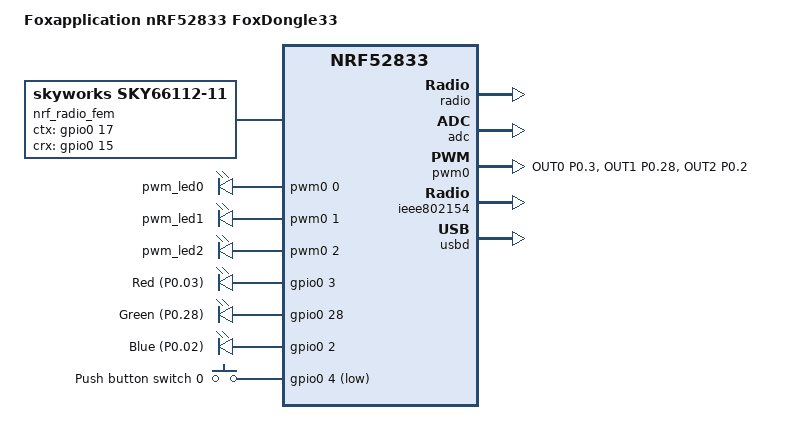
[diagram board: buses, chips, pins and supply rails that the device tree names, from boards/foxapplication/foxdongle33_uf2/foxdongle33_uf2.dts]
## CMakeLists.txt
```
#
# Copyright (c) 2018 Nordic Semiconductor
#
# SPDX-License-Identifier: LicenseRef-Nordic-5-Clause
#
cmake_minimum_required(VERSION 3.20.0)

# Configure build metadata from git (best-effort)
find_package(Git)

if(GIT_EXECUTABLE)
  execute_process(
    COMMAND ${GIT_EXECUTABLE} branch --show-current
    WORKING_DIRECTORY ${CMAKE_SOURCE_DIR}
    OUTPUT_VARIABLE GIT_BRANCH
    )
  # Prefer a https URL for display (falls back to 'unknown')
  execute_process(
    COMMAND ${GIT_EXECUTABLE} config --get remote.origin.url
    WORKING_DIRECTORY ${CMAKE_SOURCE_DIR}
    OUTPUT_VARIABLE GIT_REPO_URL_SSH
    )
  execute_process(
    COMMAND ${GIT_EXECUTABLE} config --get remote.origin.https.url
    WORKING_DIRECTORY ${CMAKE_SOURCE_DIR}
    OUTPUT_VARIABLE GIT_REPO_URL_HTTPS
    )
  execute_process(
    COMMAND ${GIT_EXECUTABLE} log -1 --pretty=%an
    WORKING_DIRECTORY ${CMAKE_SOURCE_DIR}
    OUTPUT_VARIABLE GIT_AUTHOR
    )
endif()

if(GIT_BRANCH STREQUAL "")
  set(GIT_BRANCH unknown)
  message(WARNING "Unknown Git Branch")
endif()
# Choose URL: origin.https.url > origin.url
if(NOT GIT_REPO_URL_HTTPS STREQUAL "")
  set(GIT_REPO_URL ${GIT_REPO_URL_HTTPS})
else()
  set(GIT_REPO_URL ${GIT_REPO_URL_SSH})
endif()

# Normalize GitHub SSH URLs to HTTPS for display in firmware info
if(GIT_REPO_URL MATCHES "^git@github\\.com:(.+)$")
  set(GIT_REPO_URL "https://github.com/${CMAKE_MATCH_1}")
elseif(GIT_REPO_URL MATCHES "^ssh://git@github\\.com/(.+)$")
  set(GIT_REPO_URL "https://github.com/${CMAKE_MATCH_1}")
endif()
string(REGEX REPLACE "\\.git$" "" GIT_REPO_URL "${GIT_REPO_URL}")

if(GIT_REPO_URL STREQUAL "")
  set(GIT_REPO_URL unknown)
  message(WARNING "Unknown Git Repo URL")
endif()
if(GIT_AUTHOR STREQUAL "")
  set(GIT_AUTHOR unknown)
  message(WARNING "Unknown Git Author")
endif()

string(STRIP ${GIT_BRANCH} GIT_BRANCH)
string(STRIP ${GIT_REPO_URL} GIT_REPO_URL)
string(STRIP ${GIT_AUTHOR} GIT_AUTHOR)

# Pass metadata to C compilation units
add_compile_definitions(
  FW_GIT_BRANCH="${GIT_BRANCH}"
  FW_GIT_REPO_URL="${GIT_REPO_URL}"
  FW_GIT_AUTHOR="${GIT_AUTHOR}"
)

set(SLIMEVR_ECAN_CDC_OVERLAY ${CMAKE_CURRENT_SOURCE_DIR}/boards/ecan_cdc.overlay)

if(DEFINED EXTRA_DTC_OVERLAY_FILE)
  set(EXTRA_DTC_OVERLAY_FILE ${SLIMEVR_ECAN_CDC_OVERLAY} ${EXTRA_DTC_OVERLAY_FILE})
else()
  set(EXTRA_DTC_OVERLAY_FILE ${SLIMEVR_ECAN_CDC_OVERLAY})
endif()

find_package(Zephyr REQUIRED HINTS $ENV{ZEPHYR_BASE})
project(NONE)

FILE(GLOB_RECURSE app_sources src/*.c)
# NORDIC SDK APP START
target_sources(app PRIVATE ${app_sources})
# NORDIC SDK APP END

target_include_directories(app PRIVATE src)

# Force recompile for updated build timestamp
add_custom_target(touch_util_h ALL
    COMMAND ${CMAKE_COMMAND} -E touch ${CMAKE_SOURCE_DIR}/src/build_defines.h
)
```

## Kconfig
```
#
# Copyright (c) 2020 Nordic Semiconductor
#
# SPDX-License-Identifier: LicenseRef-Nordic-5-Clause
#

choice
	prompt "Status LED color mapping"
    default LED_TRI_COLOR

config LED_RGB_COLOR
    bool "Use RGB color mapping"
    help
        Use RGB or RG color mapping for LED status if available.

config LED_TRI_COLOR
    bool "Use default color mapping"
    help
        Use the default color mapping for LED status.

endchoice

menu "Status LED default status color"
    depends on LED_RGB_COLOR

config LED_DEFAULT_COLOR_R
    int "Red value"
    range 0 10000
    default 4000
    depends on LED_RGB_COLOR
    help
        Red color for default status.
        Valid range is 0 to 10000.

config LED_DEFAULT_COLOR_G
    int "Green value"
    range 0 10000
    default 6000
    depends on LED_RGB_COLOR
    help
        Green color for default status.
        Valid range is 0 to 10000.

config LED_DEFAULT_COLOR_B
    int "Blue value"
    range 0 10000
    default 0
    depends on LED_RGB_COLOR
    help
        Blue color for default status.
        Valid range is 0 to 10000.

endmenu

config RADIO_TX_POWER
    int "Radio output power (dBm)"
    default 30
    help
        Radio output power level.
        A lower value may reduce power consumption.

config RADIO_RF_CHANNEL
    int "Radio RF channel"
    default 2
    help
        Radio RF channel (0-100).
        Must match the receiver channel.

config RADIO_RETRANSMIT_DELAY
    int "Radio retransmit delay (µs)"
    default 600
    help
        Radio retransmit delay.

config PAIRING_TIMEOUT
    int "Pairing mode timeout (seconds)"
    default 300
    help
        Timeout for pairing mode in seconds.
        After this time, pairing mode will automatically exit.
        Default is 300 seconds (5 minutes).
        Set to 0 to disable timeout.

config DATA_COLLECT
    bool "Enable raw sensor data collection interface"
    default n
    help
        Enable streaming raw IMU and magnetometer data from trackers.
        Choose HID or CDC transport via DATA_COLLECT_HID.

config DATA_COLLECT_HID
    bool "Use HID endpoint for data collection (instead of CDC serial)"
    depends on DATA_COLLECT
    default y
    help
        When enabled, raw data is sent via a dedicated HID endpoint.
        When disabled, raw data is sent via a second CDC ACM serial port.

config SLIMEVR_ECAN_STREAM
    bool "Enable ECAN-ECBT-16B serial posture stream"
    default n
    help
        Frame tracker quaternions, battery level and magnetic disturbance
        into fixed 16-byte ECAN-ECBT-16B packets on the dedicated CDC ACM
        port (cdc_acm_uart1, see boards/ecan_cdc.overlay). Pose packets then
        feed this stream instead of the HID report path; HID stays available
        for tracker events, commands and OTA.

config SLIMEVR_USB_DEVICE_VID
    hex "SlimeVR USB vendor ID"
    default 0x1209
    help
        USB vendor ID used by the SlimeVR USBD_NEXT device.

config SLIMEVR_USB_DEVICE_PID
    hex "SlimeVR USB product ID"
    default 0x7690
    help
        USB product ID used by the SlimeVR receiver firmware.

config SLIMEVR_USB_DEVICE_MANUFACTURER
    string "SlimeVR USB manufacturer"
    default "SlimeVR"
    help
        USB manufacturer string and console banner prefix.

config SLIMEVR_USB_DEVICE_PRODUCT
    string "SlimeVR USB product"
    default "SlimeNRF Receiver"
    help
        USB product string and console banner name.

config SLIMEVR_USB_DEVICE_MAX_POWER
    int "SlimeVR USB max power"
    range 0 250
    default 100
    help
        USB bMaxPower value in 2 mA units.

menu "TDMA diagnostics"

config TDMA_DIAGNOSTICS
    bool "Compile in TDMA/RF phase diagnostics"
    default n
    help
        Per-tracker phase/RSSI histograms, sync bookkeeping counters
        (ping_rej, extrap_skip) and the console health snapshot.
        Disable for production builds: reclaims ~25 KB RAM and removes
        per-packet histogram work from the radio event path. TDMA
        scheduling and PING/PONG clock sync stay fully functional
        without this option; only the measurement instrumentation is
        removed at compile time.

endmenu

source "Kconfig.zephyr"
```

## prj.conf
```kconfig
#CONFIG_NCS_SAMPLES_DEFAULTS
CONFIG_ASSERT=y
CONFIG_ASSERT_NO_COND_INFO=y
CONFIG_ASSERT_NO_MSG_INFO=y
CONFIG_RESET_ON_FATAL_ERROR=y

CONFIG_NCS_APPLICATION_BOOT_BANNER_STRING="SlimeVR-Tracker-nRF-Receiver"
#CONFIG_NCS_BOOT_BANNER=n
CONFIG_BOOT_BANNER=n

# HEX carries mapped-partition addresses for native UF2 generation.
CONFIG_BUILD_OUTPUT_HEX=y

CONFIG_ESB=y
CONFIG_PICOLIBC=y
CONFIG_CBPRINTF_FP_SUPPORT=y

CONFIG_FPU=y

CONFIG_USB_DEVICE_STACK_NEXT=y
CONFIG_USBD_HID_SUPPORT=y
CONFIG_USBD_CDC_ACM_CLASS=y
CONFIG_CDC_ACM_SERIAL_INITIALIZE_AT_BOOT=n
CONFIG_SLIMEVR_USB_DEVICE_VID=0x1209
CONFIG_SLIMEVR_USB_DEVICE_PID=0x7690
CONFIG_UART_INTERRUPT_DRIVEN=y
#CONFIG_USB_WORKQUEUE_STACK_SIZE=512

CONFIG_SERIAL=y
CONFIG_CONSOLE=y
CONFIG_UART_CONSOLE=y
CONFIG_UART_LINE_CTRL=y

CONFIG_USE_SEGGER_RTT=y
CONFIG_LOG=y
#CONFIG_PRINTK=y
CONFIG_LOG_MODE_DEFERRED=y
CONFIG_LOG_SPEED=y
CONFIG_LOG_BACKEND_RTT=y
CONFIG_USBD_LOG_LEVEL_WRN=y
CONFIG_UDC_DRIVER_LOG_LEVEL_WRN=y
CONFIG_USBD_CDC_ACM_LOG_LEVEL_OFF=y
CONFIG_UDC_BUF_POOL_SIZE=4096
CONFIG_LOG_BUFFER_SIZE=4096
CONFIG_LOG_PROCESS_THREAD_SLEEP_MS=100
CONFIG_LOG_PROCESS_THREAD_STACK_SIZE=1024
CONFIG_LOG_PROCESS_THREAD_STARTUP_DELAY_MS=0

CONFIG_LOG_BACKEND_UART=y
CONFIG_LOG_BACKEND_UART_AUTOSTART=n
CONFIG_LOG_MODE_DEFERRED=y

CONFIG_CONSOLE_SUBSYS=y
CONFIG_CONSOLE_GETLINE=y

CONFIG_NVS_LOG_LEVEL_WRN=y
CONFIG_USBD_HID_LOG_LEVEL_WRN=y

CONFIG_USBD_HID_IN_BUF_COUNT=4
CONFIG_USBD_HID_OUT_BUF_COUNT=4

CONFIG_GPIO=y
CONFIG_PWM=y

CONFIG_NVS=y

CONFIG_FLASH=y
CONFIG_FLASH_PAGE_LAYOUT=y
CONFIG_FLASH_MAP=y
CONFIG_USE_DT_CODE_PARTITION=y

CONFIG_SETTINGS=y
CONFIG_SETTINGS_NVS=y
CONFIG_SETTINGS_RUNTIME=y
CONFIG_SETTINGS_NONE=y

CONFIG_MPU_ALLOW_FLASH_WRITE=y

CONFIG_NVS_LOOKUP_CACHE=y

CONFIG_ESB_MAX_PAYLOAD_LENGTH=72
CONFIG_ESB_TX_FIFO_SIZE=16
CONFIG_ESB_RX_FIFO_SIZE=16
# CONFIG_NRFX_TIMER1=y

#speed up boot? (use internal rc oscillator)
#CONFIG_CLOCK_CONTROL_NRF_K32SRC_RC=y
#speed up boot? (synthesize lf clock)
CONFIG_CLOCK_CONTROL_NRF_K32SRC_SYNTH=y

# dont need it
CONFIG_CRYPTO=n

CONFIG_THREAD_NAME=y
CONFIG_SYSTEM_WORKQUEUE_STACK_SIZE=1024
CONFIG_MAIN_STACK_SIZE=2048

#CONFIG_HEAP_MEM_POOL_SIZE=2048
CONFIG_ISR_STACK_SIZE=1024

CONFIG_RADIO_RF_CHANNEL=84
CONFIG_RADIO_RETRANSMIT_DELAY=310
CONFIG_RADIO_TX_POWER=30

CONFIG_LTO=y
CONFIG_ISR_TABLES_LOCAL_DECLARATION=y
```

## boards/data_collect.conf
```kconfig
# Enable raw sensor data collection interface (second CDC ACM port)
CONFIG_DATA_COLLECT=y
```

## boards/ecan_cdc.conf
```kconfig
# ECAN-ECBT-16B posture stream on the second CDC ACM port.
# Pair with -DEXTRA_DTC_OVERLAY_FILE=boards/ecan_cdc.overlay.
CONFIG_SLIMEVR_ECAN_STREAM=y
```

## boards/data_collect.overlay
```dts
/* Data collection CDC ACM interface - only included when CONFIG_DATA_COLLECT=y */
&usbd {
	cdc_acm_uart1: cdc_acm_uart1 {
		compatible = "zephyr,cdc-acm-uart";
	};
};
```

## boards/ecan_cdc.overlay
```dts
/* ECAN-ECBT-16B posture stream: second CDC ACM port, paired with
 * boards/ecan_cdc.conf. Mutually exclusive with
 * boards/data_collect_cdc.overlay, which claims the same node. */
&zephyr_udc0 {
	cdc_acm_uart1: cdc_acm_uart1 {
		compatible = "zephyr,cdc-acm-uart";
		label = "ECAN-ECBT-16B";
		tx-fifo-size = <4096>;
		rx-fifo-size = <64>;
	};
};
```

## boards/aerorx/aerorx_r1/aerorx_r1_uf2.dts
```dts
// Copyright (c) 2024 Nordic Semiconductor ASA
// SPDX-License-Identifier: Apache-2.0

/dts-v1/;
#include <nordic/nrf52840_qiaa.dtsi>
#include <zephyr/dt-bindings/input/input-event-codes.h>

&pinctrl {
	pwm0_default: pwm0_default {
		group1 {
			psels = <NRF_PSEL(PWM_OUT0, 0, 13)>,<NRF_PSEL(PWM_OUT0, 0, 15)>;
			nordic,invert;
		};
	};

	pwm0_sleep: pwm0_sleep {
		group1 {
			psels = <NRF_PSEL(PWM_OUT0, 0, 13)>,<NRF_PSEL(PWM_OUT0, 0, 15)>;
			low-power-enable;
		};
	};
};

/ {
	model = "AeroRX nRF52840 Receiver R1";
	compatible = "aerorx_r1_uf2";

	chosen {
		zephyr,console = &cdc_acm_uart;
		zephyr,shell-uart = &cdc_acm_uart;
		zephyr,uart-mcumgr = &cdc_acm_uart;
		zephyr,bt-mon-uart = &cdc_acm_uart;
		zephyr,bt-c2h-uart = &cdc_acm_uart;
		zephyr,sram = &sram0;
		zephyr,flash = &flash0;
		zephyr,ieee802154 = &ieee802154;
	};

	nrf_radio_fem: skyFem {
			compatible = "skyworks,sky66112-11", "generic-fem-two-ctrl-pins";
			ctx-gpios = <&gpio0 24 GPIO_ACTIVE_HIGH>;
			ctx-settle-time-us = <23>;
			crx-gpios = <&gpio0 22 GPIO_ACTIVE_HIGH>;
			crx-settle-time-us = <8>;
			tx-gain-db = <22>;
			rx-gain-db = <12>;
	};

	leds {
		compatible = "gpio-leds";
		led0_green: led_0 {
			gpios = <&gpio0 13 GPIO_ACTIVE_LOW>;
			label = "Green LED 0";
		};
		led1_red: led_1 {
			gpios = <&gpio0 15 GPIO_ACTIVE_LOW>;
			label = "Red LED 1";
		};
	};

	pwmleds {
		compatible = "pwm-leds";
		green_pwm_led: pwm_led_0 {
			pwms = <&pwm0 0 PWM_MSEC(1) PWM_POLARITY_INVERTED>;
		};
	};

	buttons {
		compatible = "gpio-keys";
		button0: button_0 {
			gpios = <&gpio1 0 (GPIO_PULL_UP | GPIO_ACTIVE_LOW)>;
			label = "Push button switch 0";
			zephyr,code = <INPUT_KEY_0>;
		};
	};

	aliases {
		sw0 = &button0;
		led0 = &led0_green;
		led1 = &led1_red;
		led0-green = &led0_green;
		led1-red   = &led1_red;
		pwm-led0 = &green_pwm_led;
		green-pwm-led = &green_pwm_led;
		watchdog0 = &wdt0;
	};
};

&reg0 {
    status = "disabled";
};

&reg1 {
	regulator-initial-mode = <NRF5X_REG_MODE_LDO>;
};

&radio {
    fem = <&nrf_radio_fem>;
};

&adc {
	status = "okay";
};

&gpio0 {
	status = "okay";
};

&gpio1 {
	status = "okay";
};

&gpiote {
	status = "okay";
};

&uicr {
	nfct-pins-as-gpios;
	gpio-as-nreset;
};

&pwm0 {
	status = "okay";
	pinctrl-0 = <&pwm0_default>;
	pinctrl-1 = <&pwm0_sleep>;
	pinctrl-names = "default", "sleep";
};

&ieee802154 {
	status = "okay";
};

zephyr_udc0: &usbd {
	compatible = "nordic,nrf-usbd";
	status = "okay";
	cdc_acm_uart: cdc_acm_uart {
		compatible = "zephyr,cdc-acm-uart";
	};
};

&cryptocell {
	status = "disabled";
};

&nfct {
	status = "disabled";
};
```

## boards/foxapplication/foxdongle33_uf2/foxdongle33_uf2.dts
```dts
// Copyright (c) 2024 Nordic Semiconductor ASA
// SPDX-License-Identifier: Apache-2.0

/dts-v1/;
#include <nordic/nrf52833_qiaa.dtsi>
#include <zephyr/dt-bindings/input/input-event-codes.h>

&pinctrl {
	pwm0_default: pwm0_default {
		group1 {
			psels = <NRF_PSEL(PWM_OUT0, 0, 3)>,
				<NRF_PSEL(PWM_OUT1, 0, 28)>,
				<NRF_PSEL(PWM_OUT2, 0, 2)>;
			nordic,drive-mode = <NRF_DRIVE_D0S1>;
			nordic,invert;
		};
	};

	pwm0_sleep: pwm0_sleep {
		group1 {
			psels = <NRF_PSEL(PWM_OUT0, 0, 3)>,
				<NRF_PSEL(PWM_OUT1, 0, 28)>,
				<NRF_PSEL(PWM_OUT2, 0, 2)>;
			low-power-enable;
		};
	};
};

/ {
	model = "Foxapplication nRF52833 FoxDongle33";
	compatible = "foxdongle33_uf2";

	chosen {
		zephyr,console = &cdc_acm_uart;
		zephyr,shell-uart = &cdc_acm_uart;
		zephyr,uart-mcumgr = &cdc_acm_uart;
		zephyr,bt-mon-uart = &cdc_acm_uart;
		zephyr,bt-c2h-uart = &cdc_acm_uart;
		zephyr,sram = &sram0;
		zephyr,flash = &flash0;
		zephyr,ieee802154 = &ieee802154;
	};

	nrf_radio_fem: skyFem {
		compatible = "skyworks,sky66112-11", "radio-fem-two-ctrl-pins";
		ctx-gpios = <&gpio0 17 GPIO_ACTIVE_HIGH>;
		ctx-settle-time-us = <23>;
		crx-gpios = <&gpio0 15 GPIO_ACTIVE_HIGH>;
		crx-settle-time-us = <8>;
		tx-gain-db = <22>;
		rx-gain-db = <12>;
	};

	pwmleds {
		compatible = "pwm-leds";
		pwm_led0: pwm_led_0 {
			pwms = <&pwm0 0 PWM_MSEC(1) PWM_POLARITY_NORMAL>;
		};
		pwm_led1: pwm_led_1 {
			pwms = <&pwm0 1 PWM_MSEC(1) PWM_POLARITY_NORMAL>;
		};
		pwm_led2: pwm_led_2 {
			pwms = <&pwm0 2 PWM_MSEC(1) PWM_POLARITY_NORMAL>;
		};
	};
	leds {
		compatible = "gpio-leds";
		led0: led_0 {
			gpios = <&gpio0 3 GPIO_ACTIVE_HIGH>;
			label = "Red (P0.03)";
		};
		led1: led_1 {
			gpios = <&gpio0 28 GPIO_ACTIVE_HIGH>;
			label = "Green (P0.28)";
		};
		led2: led_2 {
			gpios = <&gpio0 2 GPIO_ACTIVE_HIGH>;
			label = "Blue (P0.02)";
		};
	};

	buttons {
		compatible = "gpio-keys";
		button0: button_0 {
			gpios = <&gpio0 4 (GPIO_PULL_UP | GPIO_ACTIVE_LOW)>;
			label = "Push button switch 0";
			zephyr,code = <INPUT_KEY_0>;
		};
	};

	aliases {
		sw0 = &button0;
		pwm-led0 = &pwm_led0;
		pwm-led1 = &pwm_led1;
		pwm-led2 = &pwm_led2;
		led0 = &led0;
		led1 = &led1;
		led2 = &led2;
		watchdog0 = &wdt0;
	};
};

&reg0 {
	status = "disabled";
};

&reg1 {
	regulator-initial-mode = <NRF5X_REG_MODE_LDO>;
};

&radio {
	fem = <&nrf_radio_fem>;
};

&adc {
	status = "okay";
};

&gpio0 {
	status = "okay";
};

&gpio1 {
	status = "okay";
};

&gpiote {
	status = "okay";
};

&uicr {
	nfct-pins-as-gpios;
	gpio-as-nreset;
};

&pwm0 {
	status = "okay";
	pinctrl-0 = <&pwm0_default>;
	pinctrl-1 = <&pwm0_sleep>;
	pinctrl-names = "default", "sleep";
};

&ieee802154 {
	status = "okay";
};

zephyr_udc0: &usbd {
	compatible = "nordic,nrf-usbd";
	status = "okay";

	cdc_acm_uart: cdc_acm_uart {
		compatible = "zephyr,cdc-acm-uart";
	};
};

&nfct {
	status = "disabled";
};
```

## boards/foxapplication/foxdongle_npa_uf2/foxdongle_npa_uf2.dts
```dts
// Copyright (c) 2024 Nordic Semiconductor ASA
// SPDX-License-Identifier: Apache-2.0

/dts-v1/;
#include <nordic/nrf52840_qiaa.dtsi>

//move to dtsi?
&pinctrl {
	pwm0_default: pwm0_default {
		group1 {
			psels = <NRF_PSEL(PWM_OUT0, 0, 15)>;
			nordic,drive-mode = <NRF_DRIVE_D0S1>;
		};
	};

	pwm0_sleep: pwm0_sleep {
		group1 {
			psels = <NRF_PSEL(PWM_OUT0, 0, 15)>;
			low-power-enable;
		};
	};
};
//end

/ {
	model = "foxdongle_npa_uf2";
	compatible = "foxdongle_npa_uf2";

	chosen {
		zephyr,sram = &sram0;
		zephyr,flash = &flash0;
		zephyr,console = &cdc_acm_uart0;
		zephyr,shell-uart = &cdc_acm_uart0;
	};

	pwmleds {
		compatible = "pwm-leds";
		pwm_led0: pwm_led_0 {
			pwms = <&pwm0 0 PWM_MSEC(1) PWM_POLARITY_NORMAL>;
		};
	};

	aliases {
		pwm-led0 = &pwm_led0;
	};

	zephyr,user {
		led-gpios = <&gpio0 15 GPIO_OPEN_SOURCE>;
	};
};

&reg1 {
	regulator-initial-mode = <NRF5X_REG_MODE_DCDC>;
};

&gpio0 {
	status = "okay";
};

&gpiote {
	status = "okay";
};

&pwm0 {
	status = "okay";
	pinctrl-0 = <&pwm0_default>;
	pinctrl-1 = <&pwm0_sleep>;
	pinctrl-names = "default", "sleep";
};

zephyr_udc0: &usbd {
	compatible = "nordic,nrf-usbd";
	status = "okay";
	cdc_acm_uart0: cdc_acm_uart0 {
		compatible = "zephyr,cdc-acm-uart";
	};
};

&cryptocell {
	status = "disabled";
};

&nfct {
	status = "disabled";
};
```

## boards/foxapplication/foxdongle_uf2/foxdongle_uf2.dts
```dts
// Copyright (c) 2024 Nordic Semiconductor ASA
// SPDX-License-Identifier: Apache-2.0

/dts-v1/;
#include <nordic/nrf52840_qiaa.dtsi>
#include <zephyr/dt-bindings/input/input-event-codes.h>

&pinctrl {
	pwm0_default: pwm0_default {
		group1 {
			psels = <NRF_PSEL(PWM_OUT0, 1, 9)>,<NRF_PSEL(PWM_OUT0, 0, 8)>,<NRF_PSEL(PWM_OUT0, 0, 12)>;
			nordic,drive-mode = <NRF_DRIVE_D0S1>;
		};
	};

	pwm0_sleep: pwm0_sleep {
		group1 {
			psels = <NRF_PSEL(PWM_OUT0, 1, 9)>,<NRF_PSEL(PWM_OUT0, 0, 8)>,<NRF_PSEL(PWM_OUT0, 0, 12)>;
			low-power-enable;
		};
	};
};

/ {
	model = "Foxapplication nRF52840 FoxDongle";
	compatible = "foxdongle_uf2";

	chosen {
		zephyr,console = &cdc_acm_uart;
		zephyr,shell-uart = &cdc_acm_uart;
		zephyr,uart-mcumgr = &cdc_acm_uart;
		zephyr,bt-mon-uart = &cdc_acm_uart;
		zephyr,bt-c2h-uart = &cdc_acm_uart;
		zephyr,sram = &sram0;
		zephyr,flash = &flash0;
		zephyr,ieee802154 = &ieee802154;
	};

	nrf_radio_fem: skyFem {
		compatible = "skyworks,sky66112-11", "generic-fem-two-ctrl-pins";
		ctx-gpios = <&gpio1 0 GPIO_ACTIVE_HIGH>;
		ctx-settle-time-us = <23>;
		crx-gpios = <&gpio0 24 GPIO_ACTIVE_HIGH>;
		crx-settle-time-us = <8>;
		tx-gain-db = <22>;
		rx-gain-db = <12>;
	};

	leds {
		compatible = "gpio-leds";
		led0_green: led_0 {
			gpios = <&gpio1 9 GPIO_ACTIVE_LOW>;
			label = "Green LED 0";
		};
		led1_red: led_1 {
			gpios = <&gpio0 12 GPIO_ACTIVE_LOW>;
			label = "Red LED 1";
		};
		led2_blue: led_2 {
			gpios = <&gpio0 8 GPIO_ACTIVE_LOW>;
			label = "Red LED 1";
		};
	};


	pwmleds {
		compatible = "pwm-leds";
		green_pwm_led: pwm_led_0 {
			pwms = <&pwm0 0 PWM_MSEC(1) PWM_POLARITY_NORMAL>;
		};
	};

	buttons {
		compatible = "gpio-keys";
		button0: button_0 {
			gpios = <&gpio0 13 (GPIO_PULL_UP | GPIO_ACTIVE_LOW)>;
			label = "Push button switch 0";
			zephyr,code = <INPUT_KEY_0>;
		};
	};

	aliases {
		sw0 = &button0;
		led0 = &led0_green;
		led1 = &led1_red;
		led2 = &led2_blue;
		led0-green = &led0_green;
		led1-red   = &led1_red;
		led2-blue   = &led2_blue;
		pwm-led0 = &green_pwm_led;
		green-pwm-led = &green_pwm_led;
		watchdog0 = &wdt0;
	};
};

&reg0 {
	status = "disabled";
};

&reg1 {
	regulator-initial-mode = <NRF5X_REG_MODE_LDO>;
};

&radio {
	fem = <&nrf_radio_fem>;
};

&adc {
	status = "okay";
};

&gpio0 {
	status = "okay";
};

&gpio1 {
	status = "okay";
};

&gpiote {
	status = "okay";
};

&uicr {
	nfct-pins-as-gpios;
	gpio-as-nreset;
};

&pwm0 {
	status = "okay";
	pinctrl-0 = <&pwm0_default>;
	pinctrl-1 = <&pwm0_sleep>;
	pinctrl-names = "default", "sleep";
};

&ieee802154 {
	status = "okay";
};

zephyr_udc0: &usbd {
	compatible = "nordic,nrf-usbd";
	status = "okay";
	cdc_acm_uart: cdc_acm_uart {
		compatible = "zephyr,cdc-acm-uart";
	};
};

&cryptocell {
	status = "disabled";
};

&nfct {
	status = "disabled";
};
```

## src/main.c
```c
/*
	SlimeVR Code is placed under the MIT license
	Copyright (c) 2025 SlimeVR Contributors

	Permission is hereby granted, free of charge, to any person obtaining a copy
	of this software and associated documentation files (the "Software"), to deal
	in the Software without restriction, including without limitation the rights
	to use, copy, modify, merge, publish, distribute, sublicense, and/or sell
	copies of the Software, and to permit persons to whom the Software is
	furnished to do so, subject to the following conditions:

	The above copyright notice and this permission notice shall be included in
	all copies or substantial portions of the Software.

	THE SOFTWARE IS PROVIDED "AS IS", WITHOUT WARRANTY OF ANY KIND, EXPRESS OR
	IMPLIED, INCLUDING BUT NOT LIMITED TO THE WARRANTIES OF MERCHANTABILITY,
	FITNESS FOR A PARTICULAR PURPOSE AND NONINFRINGEMENT. IN NO EVENT SHALL THE
	AUTHORS OR COPYRIGHT HOLDERS BE LIABLE FOR ANY CLAIM, DAMAGES OR OTHER
	LIABILITY, WHETHER IN AN ACTION OF CONTRACT, TORT OR OTHERWISE, ARISING FROM,
	OUT OF OR IN CONNECTION WITH THE SOFTWARE OR THE USE OR OTHER DEALINGS IN
	THE SOFTWARE.
*/
#include "globals.h"
#include "system/system.h"
#include "system/led.h"
#include "system/status.h"
#include "connection/esb.h"

#include <zephyr/kernel.h>
#include <zephyr/sys/reboot.h>

#define DFU_EXISTS CONFIG_BUILD_OUTPUT_UF2 || CONFIG_BOARD_HAS_NRF5_BOOTLOADER
#define DFU_DBL_RESET_MEM 0x20007F7C
#define DFU_DBL_RESET_APP 0x4ee5677e

#if DFU_EXISTS
static uint32_t *dbl_reset_mem = ((uint32_t *)DFU_DBL_RESET_MEM);
#endif

LOG_MODULE_REGISTER(main, LOG_LEVEL_INF);

int main(void)
{
	// Initialize LED system first
	set_led(SYS_LED_PATTERN_ACTIVE_PERSIST, SYS_LED_PRIORITY_SYSTEM);

	// Boot sequence with button detection
	set_led(SYS_LED_PATTERN_ON, SYS_LED_PRIORITY_BOOT);

	uint8_t reboot_counter = reboot_counter_read();
	bool booting_from_shutdown = !reboot_counter;

	// Check if button is pressed during boot
	if (button_read())
	{
		LOG_INF("Button detected during boot");
		int64_t boot_start = k_uptime_get();

		while (button_read())
		{
			if (k_uptime_get() - boot_start > 1000)
				set_led(SYS_LED_PATTERN_LONG, SYS_LED_PRIORITY_HIGHEST);
			if (k_uptime_get() - boot_start > 5000)
			{
				LOG_INF("Boot-time pairing reset requested");
				esb_clear();
				break;
			}
			k_msleep(10);
		}

		if (k_uptime_get() - boot_start > 5000)
			set_led(SYS_LED_PATTERN_ONESHOT_COMPLETE, SYS_LED_PRIORITY_HIGHEST);
		else if (k_uptime_get() - boot_start > 50) // Short press during boot
			set_led(SYS_LED_PATTERN_ONESHOT_POWERON, SYS_LED_PRIORITY_HIGHEST);
	}
	else if (booting_from_shutdown)
	{
		set_led(SYS_LED_PATTERN_ONESHOT_POWERON, SYS_LED_PRIORITY_BOOT);
	}

	// Clear boot LED priority
	set_led(SYS_LED_PATTERN_OFF, SYS_LED_PRIORITY_BOOT);

	return 0;
}
```

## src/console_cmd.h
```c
/*
 * SlimeVR Code is placed under the MIT license
 * Copyright (c) 2025 SlimeVR Contributors
 *
 * Shared console command execution (USB CDC and HID_1 command channel).
 */
#ifndef CONSOLE_CMD_H
#define CONSOLE_CMD_H

#include <stdbool.h>
#include <stddef.h>
#include <stdint.h>

/** Max message length including terminating NUL (matches HID status payload + margin). */
#define CONSOLE_CMD_RESULT_MSG_LEN 64

enum console_cmd_status {
	CONSOLE_CMD_STATUS_OK = 0,
	CONSOLE_CMD_STATUS_UNKNOWN = 1,
	CONSOLE_CMD_STATUS_BAD_ARGS = 2,
	CONSOLE_CMD_STATUS_TOO_LONG = 3,
	CONSOLE_CMD_STATUS_BUSY = 4,
	CONSOLE_CMD_STATUS_INTERNAL = 5,
};

struct console_cmd_result {
	int status_code;
	bool accepted;
	char message[CONSOLE_CMD_RESULT_MSG_LEN];
};

/**
 * Optional buffer filled during command execution with the same text as printk (CDC + long HID replies).
 * @a buf must remain valid for the whole execute_line call; @a cap includes space for a trailing NUL.
 */
struct console_cmd_capture {
	char *buf;
	size_t cap;
	size_t len;
	bool truncated;
};

/**
 * Print formatted line to printk and, when a capture context is active (HID path), append to its buffer.
 * Also used by helpers such as RSSI scan so HID can collect full multi-line output.
 */
void console_cmd_print(const char *fmt, ...);

/**
 * Execute one line of console input (same semantics as USB CDC console).
 * @param line Mutable buffer; will be lowercased and tokenized in place.
 * @param result Optional; if non-NULL, last status line is written for HID / tooling.
 * @param capture Optional; if non-NULL, full printk-equivalent output is accumulated (RAM-limited, see truncated).
 */
void console_cmd_execute_line(char *line, struct console_cmd_result *result, struct console_cmd_capture *capture);

/** Short English name for @a status_code (HID JSON `status.name` / tooling). */
const char *console_cmd_status_name(int status_code);

/** Print full help text to printk (used by CDC startup and "help" command). */
void console_cmd_print_help(void);

/** Enter bootloader DFU (same as `dfu` console command). */
void console_cmd_request_local_dfu(bool ota);

#endif /* CONSOLE_CMD_H */
```

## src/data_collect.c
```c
/*
	SlimeVR Code is placed under the MIT license
	Copyright (c) 2025 SlimeVR Contributors

	Permission is hereby granted, free of charge, to any person obtaining a copy
	of this software and associated documentation files (the "Software"), to deal
	in the Software without restriction, including without limitation the rights
	to use, copy, modify, merge, publish, distribute, sublicense, and/or sell
	copies of the Software, and to permit persons to whom the Software is
	furnished to do so, subject to the following conditions:

	The above copyright notice and this permission notice shall be included in
	all copies or substantial portions of the Software.

	THE SOFTWARE IS PROVIDED "AS IS", WITHOUT WARRANTY OF ANY KIND, EXPRESS OR
	IMPLIED, INCLUDING BUT NOT LIMITED TO THE WARRANTIES OF MERCHANTABILITY,
	FITNESS FOR A PARTICULAR PURPOSE AND NONINFRINGEMENT. IN NO EVENT SHALL THE
	AUTHORS OR COPYRIGHT HOLDERS BE LIABLE FOR ANY CLAIM, DAMAGES OR OTHER
	LIABILITY, WHETHER IN AN ACTION OF CONTRACT, TORT OR OTHERWISE, ARISING FROM,
	OUT OF OR IN CONNECTION WITH THE SOFTWARE OR THE USE OR OTHER DEALINGS IN
	THE SOFTWARE.
*/

#include "globals.h"
#include "data_collect.h"

#include <zephyr/kernel.h>
#include <zephyr/device.h>
#include <zephyr/drivers/uart.h>
#include <zephyr/sys/byteorder.h>
#include <zephyr/logging/log.h>

LOG_MODULE_REGISTER(data_collect, LOG_LEVEL_INF);

/* Dedicated CDC ACM UART device for data collection (separate from console) */
static const struct device *cdc_dev;
static bool cdc_ready;

/* Ring buffer for CDC output to decouple ISR-context writes from USB.
 * 16 KB holds ~287 frames (57 bytes each) ≈ 717 ms at 400 Hz. */
#define DATA_COLLECT_BUF_SIZE 16384
static uint8_t dc_buf[DATA_COLLECT_BUF_SIZE];
static volatile uint32_t dc_buf_head;
static volatile uint32_t dc_buf_tail;

/* Statistics */
static uint32_t dc_frames_sent;
static uint32_t dc_frames_dropped;

/* Runtime state */
static bool dc_active;
static uint8_t dc_target_tracker_id;

/* CRC-8 CCITT (polynomial 0x07) - same as ESB uses */
static uint8_t crc8_ccitt(uint8_t crc, const uint8_t *data, size_t len)
{
	for (size_t i = 0; i < len; i++) {
		crc ^= data[i];
		for (int j = 0; j < 8; j++) {
			if (crc & 0x80)
				crc = (crc << 1) ^ 0x07;
			else
				crc <<= 1;
		}
	}
	return crc;
}

static inline uint32_t buf_used(void)
{
	int32_t diff = (int32_t)dc_buf_head - (int32_t)dc_buf_tail;
	if (diff < 0) diff += DATA_COLLECT_BUF_SIZE;
	return (uint32_t)diff;
}

static inline uint32_t buf_free(void)
{
	return DATA_COLLECT_BUF_SIZE - 1 - buf_used();
}

static void buf_put(uint8_t byte)
{
	dc_buf[dc_buf_head] = byte;
	dc_buf_head = (dc_buf_head + 1) % DATA_COLLECT_BUF_SIZE;
}

/* Flush ring buffer to CDC UART (called from workqueue) */
static void dc_flush_work_handler(struct k_work *work);
static K_WORK_DEFINE(dc_flush_work, dc_flush_work_handler);

static void dc_flush_work_handler(struct k_work *work)
{
	ARG_UNUSED(work);

	if (!cdc_dev) return;

	/* Only send when a host has opened the port (DTR asserted) */
	uint32_t dtr = 0;
	if (uart_line_ctrl_get(cdc_dev, UART_LINE_CTRL_DTR, &dtr) != 0 || !dtr) {
		/* No host listening — silently discard buffered data to avoid
		 * unbounded ring buffer growth while nobody is connected. */
		dc_buf_tail = dc_buf_head;
		return;
	}

	while (dc_buf_tail != dc_buf_head) {
		uint8_t byte = dc_buf[dc_buf_tail];
		/* uart_poll_out blocks until the byte is accepted */
		uart_poll_out(cdc_dev, byte);
		dc_buf_tail = (dc_buf_tail + 1) % DATA_COLLECT_BUF_SIZE;
	}
}

/* Periodic flush timer - ensures data gets sent even without new packets */
static void dc_timer_handler(struct k_timer *timer);
static K_TIMER_DEFINE(dc_timer, dc_timer_handler, NULL);

static void dc_timer_handler(struct k_timer *timer)
{
	ARG_UNUSED(timer);
	k_work_submit(&dc_flush_work);
}

int data_collect_init(void)
{
	/* Get the dedicated data-collection CDC ACM device */
	cdc_dev = DEVICE_DT_GET(DT_NODELABEL(cdc_acm_uart1));
	if (!device_is_ready(cdc_dev)) {
		LOG_ERR("CDC ACM device not ready");
		return -ENODEV;
	}

	cdc_ready = true;
	dc_frames_sent = 0;
	dc_frames_dropped = 0;
	dc_active = false;

	/* Start periodic flush at 1ms to keep latency low */
	k_timer_start(&dc_timer, K_MSEC(1), K_MSEC(1));

	LOG_INF("Data collection subsystem initialized");
	return 0;
}

void data_collect_start(uint8_t tracker_id)
{
	dc_target_tracker_id = tracker_id;
	dc_active = true;
	dc_frames_sent = 0;
	dc_frames_dropped = 0;
	LOG_INF("Data collection STARTED for tracker %u", tracker_id);
}

void data_collect_stop(void)
{
	dc_active = false;
	LOG_INF("Data collection STOPPED (sent: %u, dropped: %u)",
		dc_frames_sent, dc_frames_dropped);
}

bool data_collect_is_active(void)
{
	return dc_active;
}

uint8_t data_collect_get_target_id(void)
{
	return dc_target_tracker_id;
}

bool data_collect_is_target(uint8_t tracker_id)
{
	return dc_active && tracker_id == dc_target_tracker_id;
}

void data_collect_write(const uint8_t *data, uint8_t len, uint8_t rssi)
{
	if (!cdc_ready) return;

	/* Frame: [0xAA][0x55][length][payload...][rssi][rx_ticks(4)][CRC-8]
	 * Total overhead: 2 sync + 1 len + 1 rssi + 4 ticks + 1 crc = 9 bytes */
	uint32_t frame_size = 2 + 1 + len + 1 + 4 + 1;

	if (buf_free() < frame_size) {
		dc_frames_dropped++;
		return;
	}

	uint32_t rx_ticks = (uint32_t)k_uptime_ticks();

	/* Write sync marker */
	buf_put(0xAA);
	buf_put(0x55);

	/* Length byte (payload + rssi + ticks = len + 5) */
	uint8_t frame_len = len + 5;
	buf_put(frame_len);

	/* Payload (raw ESB data) */
	uint8_t crc = 0x07;
	crc = crc8_ccitt(crc, &frame_len, 1);
	for (uint8_t i = 0; i < len; i++) {
		buf_put(data[i]);
	}
	crc = crc8_ccitt(crc, data, len);

	/* RSSI */
	buf_put(rssi);
	crc = crc8_ccitt(crc, &rssi, 1);

	/* Receiver timestamp (big-endian) */
	uint8_t ticks_buf[4];
	sys_put_be32(rx_ticks, ticks_buf);
	for (int i = 0; i < 4; i++) {
		buf_put(ticks_buf[i]);
	}
	crc = crc8_ccitt(crc, ticks_buf, 4);

	/* CRC */
	buf_put(crc);

	dc_frames_sent++;

	/* Trigger flush */
	k_work_submit(&dc_flush_work);
}
```

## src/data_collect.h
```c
/*
	SlimeVR Code is placed under the MIT license
	Copyright (c) 2025 SlimeVR Contributors

	Permission is hereby granted, free of charge, to any person obtaining a copy
	of this software and associated documentation files (the "Software"), to deal
	in the Software without restriction, including without limitation the rights
	to use, copy, modify, merge, publish, distribute, sublicense, and/or sell
	copies of the Software, and to permit persons to whom the Software is
	furnished to do so, subject to the following conditions:

	The above copyright notice and this permission notice shall be included in
	all copies or substantial portions of the Software.

	THE SOFTWARE IS PROVIDED "AS IS", WITHOUT WARRANTY OF ANY KIND, EXPRESS OR
	IMPLIED, INCLUDING BUT NOT LIMITED TO THE WARRANTIES OF MERCHANTABILITY,
	FITNESS FOR A PARTICULAR PURPOSE AND NONINFRINGEMENT. IN NO EVENT SHALL THE
	AUTHORS OR COPYRIGHT HOLDERS BE LIABLE FOR ANY CLAIM, DAMAGES OR OTHER
	LIABILITY, WHETHER IN AN ACTION OF CONTRACT, TORT OR OTHERWISE, ARISING FROM,
	OUT OF OR IN CONNECTION WITH THE SOFTWARE OR THE USE OR OTHER DEALINGS IN
	THE SOFTWARE.
*/
#ifndef SLIMENRF_DATA_COLLECT_H
#define SLIMENRF_DATA_COLLECT_H

#include <stdint.h>
#include <stdbool.h>

#ifdef CONFIG_DATA_COLLECT

/*
 * Binary framing protocol for CDC output:
 *
 *   [0xAA][0x55][length][payload...][CRC-8]
 *
 * length: payload byte count (1-252)
 * CRC-8: CCITT over length + payload bytes
 *
 * Payload is the raw ESB packet data as received from the tracker:
 *   - Type 0x10 (RAW_IMU):  48 bytes
 *   - Type 0x11 (RAW_MAG):  up to 17 bytes
 *   - Type 0x12 (RAW_META): 48 bytes
 *
 * An additional 5-byte footer is appended to each frame:
 *   [rssi(1)][rx_ticks(4)]   (receiver timestamp + RSSI)
 */

/* Initialize data collection CDC output (called from console thread) */
int data_collect_init(void);

/* Write a raw data packet to CDC output with binary framing.
 * Called from ESB event handler when a raw packet (0x10-0x12) arrives.
 * data: raw ESB payload, len: payload length, rssi: received signal strength */
void data_collect_write(const uint8_t *data, uint8_t len, uint8_t rssi);

/* Runtime control: start/stop data collection for a specific tracker */
void data_collect_start(uint8_t tracker_id);
void data_collect_stop(void);
bool data_collect_is_active(void);
uint8_t data_collect_get_target_id(void);

/* Check if data collection is active and this tracker is the target */
bool data_collect_is_target(uint8_t tracker_id);

#else /* !CONFIG_DATA_COLLECT */

static inline int data_collect_init(void) { return 0; }
static inline void data_collect_write(const uint8_t *data, uint8_t len, uint8_t rssi) { (void)data; (void)len; (void)rssi; }
static inline void data_collect_start(uint8_t tracker_id) { (void)tracker_id; }
static inline void data_collect_stop(void) {}
static inline bool data_collect_is_active(void) { return false; }
static inline uint8_t data_collect_get_target_id(void) { return 0; }
static inline bool data_collect_is_target(uint8_t tracker_id) { (void)tracker_id; return false; }

#endif /* CONFIG_DATA_COLLECT */

#endif /* SLIMENRF_DATA_COLLECT_H */
```

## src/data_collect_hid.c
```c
/*
	SlimeVR Code is placed under the MIT license
	Copyright (c) 2025 SlimeVR Contributors

	Permission is hereby granted, free of charge, to any person obtaining a copy
	of this software and associated documentation files (the "Software"), to deal
	in the Software without restriction, including without limitation the rights
	to use, copy, modify, merge, publish, distribute, sublicense, and/or sell
	copies of the Software, and to permit persons to whom the Software is
	furnished to do so, subject to the following conditions:

	The above copyright notice and this permission notice shall be included in
	all copies or substantial portions of the Software.

	THE SOFTWARE IS PROVIDED "AS IS", WITHOUT WARRANTY OF ANY KIND, EXPRESS OR
	IMPLIED, INCLUDING BUT NOT LIMITED TO THE WARRANTIES OF MERCHANTABILITY,
	FITNESS FOR A PARTICULAR PURPOSE AND NONINFRINGEMENT. IN NO EVENT SHALL THE
	AUTHORS OR COPYRIGHT HOLDERS BE LIABLE FOR ANY CLAIM, DAMAGES OR OTHER
	LIABILITY, WHETHER IN AN ACTION OF CONTRACT, TORT OR OTHERWISE, ARISING FROM,
	OUT OF OR IN CONNECTION WITH THE SOFTWARE OR THE USE OR OTHER DEALINGS IN
	THE SOFTWARE.
*/

/*
 * Data collection via dedicated HID endpoint (HID_1).
 *
 * Each raw ESB packet is forwarded as a single 64-byte HID input report:
 *   [0..N-1]  ESB payload (up to 52 bytes: 48 for type 0x10, 52 for type 0x13)
 *   [N]       RSSI
 *   [N+1..N+4] rx_ticks (BE32)
 *   [N+5..63]  zero padding
 *
 * No framing protocol needed — HID guarantees packet boundaries.
 * The PC reads from the second HID interface of the same USB device.
 */

#include "globals.h"
#include "data_collect.h"
#include "connection/esb.h"

#include <zephyr/kernel.h>
#include <zephyr/device.h>
#include <zephyr/usb/usb_device.h>
#include <zephyr/usb/class/usb_hid.h>
#include <zephyr/sys/byteorder.h>
#include <zephyr/logging/log.h>

LOG_MODULE_REGISTER(data_collect, LOG_LEVEL_INF);

/* HID report descriptor for data collection endpoint.
 * Vendor-defined usage page to avoid conflicts with standard HID drivers. */
static const uint8_t dc_hid_report_desc[] = {
	0x06, 0x00, 0xFF,                           /* Usage Page (Vendor Defined 0xFF00) */
	HID_USAGE(0x01),                            /* Vendor usage 0x01 */
	HID_COLLECTION(HID_COLLECTION_APPLICATION),
		HID_USAGE(0x01),
		HID_REPORT_SIZE(8),
		HID_REPORT_COUNT(64),
		HID_INPUT(0x02),                    /* Data, Variable, Absolute */
	HID_END_COLLECTION,
};

/* Device and state */
static const struct device *dc_hdev;
static ATOMIC_DEFINE(dc_ep_busy, 1);
#define DC_EP_BUSY_FLAG 0

/* Report FIFO: ISR writes here, work handler reads.
 * hid_int_ep_write() is NOT safe from ISR context (event_handler),
 * so we buffer reports and process them in the system work queue.
 * 64 slots × 64 bytes = 4 KB; at 400 Hz input rate this provides
 * ~160 ms of buffering against transient USB stalls. */
#define DC_FIFO_SIZE 64
static uint8_t dc_fifo[DC_FIFO_SIZE][64];
static atomic_t dc_fifo_write;
static atomic_t dc_fifo_read;
static struct k_work dc_send_work;

/* Runtime state */
static bool dc_active;
static uint8_t dc_target_tracker_id;
static uint32_t dc_frames_sent;
static uint32_t dc_frames_dropped;
static uint32_t dc_frames_received; /* Total raw packets from ESB (before dedup) */

/* Timeout: auto-stop if no raw data received for this long */
#define DC_TIMEOUT_MS 60000
static int64_t dc_last_rx_time;

/* Periodic stats */
static int64_t dc_last_stats_time;
static uint32_t dc_last_stats_sent;
static uint32_t dc_last_stats_dropped;
static uint32_t dc_last_stats_received;

/* Work handler: send buffered reports from thread context */
static void dc_send_work_handler(struct k_work *work)
{
	ARG_UNUSED(work);
	if (!dc_hdev) return;

	while (1) {
		size_t rd = (size_t)atomic_get(&dc_fifo_read);
		size_t wr = (size_t)atomic_get(&dc_fifo_write);
		if (rd == wr) break; /* FIFO empty */

		/* Wait for endpoint to be free */
		if (atomic_test_and_set_bit(dc_ep_busy, DC_EP_BUSY_FLAG)) {
			/* Endpoint busy — will be rescheduled by int_in_ready_cb */
			break;
		}

		int wrote;
		int ret = hid_int_ep_write(dc_hdev, dc_fifo[rd], 64, &wrote);
		if (ret != 0) {
			atomic_clear_bit(dc_ep_busy, DC_EP_BUSY_FLAG);
			dc_frames_dropped++;
		} else {
			dc_frames_sent++;
		}

		size_t next = rd + 1;
		if (next >= DC_FIFO_SIZE) next = 0;
		atomic_set(&dc_fifo_read, next);
	}
}

/* Endpoint callbacks */
static void dc_int_in_ready_cb(const struct device *dev)
{
	ARG_UNUSED(dev);
	atomic_clear_bit(dc_ep_busy, DC_EP_BUSY_FLAG);
	/* Reschedule work to send next buffered report */
	k_work_submit(&dc_send_work);
}

static const struct hid_ops dc_hid_ops = {
	.int_in_ready = dc_int_in_ready_cb,
};

/* Timeout work: stop collection and notify tracker (runs in workqueue context) */
static void dc_timeout_work_handler(struct k_work *work)
{
	ARG_UNUSED(work);
	if (!dc_active) return;
	uint8_t tid = dc_target_tracker_id;
	data_collect_stop();
	esb_send_remote_command(tid, ESB_PONG_FLAG_DATA_COLLECT_OFF);
	LOG_WRN("Data collection timed out (no data for %d s), sent OFF to tracker %u",
		DC_TIMEOUT_MS / 1000, tid);
}
static K_WORK_DEFINE(dc_timeout_work, dc_timeout_work_handler);

/* Periodic timer for timeout checking (HID version has no flush timer) */
static void dc_timeout_timer_handler(struct k_timer *timer)
{
	ARG_UNUSED(timer);
	if (dc_active && dc_last_rx_time > 0 &&
	    (k_uptime_get() - dc_last_rx_time) > DC_TIMEOUT_MS) {
		k_work_submit(&dc_timeout_work);
	}
}
static K_TIMER_DEFINE(dc_timeout_timer, dc_timeout_timer_handler, NULL);

int data_collect_init(void)
{
	k_work_init(&dc_send_work, dc_send_work_handler);

	/* Start periodic timeout check (1 second interval) */
	k_timer_start(&dc_timeout_timer, K_SECONDS(1), K_SECONDS(1));

	dc_hdev = device_get_binding("HID_1");
	if (dc_hdev == NULL) {
		LOG_ERR("Cannot get HID_1 device for data collection");
		return -ENODEV;
	}

	usb_hid_register_device(dc_hdev, dc_hid_report_desc,
				sizeof(dc_hid_report_desc), &dc_hid_ops);

	if (usb_hid_set_proto_code(dc_hdev, HID_BOOT_IFACE_CODE_NONE)) {
		LOG_WRN("Failed to set HID_1 Protocol Code");
	}

	int ret = usb_hid_init(dc_hdev);
	if (ret) {
		LOG_ERR("Failed to init HID_1: %d", ret);
		return ret;
	}

	dc_active = false;
	dc_frames_sent = 0;
	dc_frames_dropped = 0;

	LOG_INF("Data collection HID endpoint initialized (HID_1)");
	return 0;
}

SYS_INIT(data_collect_init, APPLICATION, CONFIG_KERNEL_INIT_PRIORITY_DEVICE);

void data_collect_write(const uint8_t *data, uint8_t len, uint8_t rssi)
{
	if (!dc_hdev || !dc_active) return;

	dc_last_rx_time = k_uptime_get();
	dc_frames_received++;

	/* Periodic stats (every 3 seconds) */
	int64_t now = k_uptime_get();
	if (now - dc_last_stats_time >= 3000) {
		uint32_t period_sent = dc_frames_sent - dc_last_stats_sent;
		uint32_t period_dropped = dc_frames_dropped - dc_last_stats_dropped;
		uint32_t period_received = dc_frames_received - dc_last_stats_received;
		LOG_INF("DC: rcv=%u/3s sent=%u/3s drop=%u/3s (total sent=%u drop=%u)",
			period_received, period_sent, period_dropped,
			dc_frames_sent, dc_frames_dropped);
		dc_last_stats_time = now;
		dc_last_stats_sent = dc_frames_sent;
		dc_last_stats_dropped = dc_frames_dropped;
		dc_last_stats_received = dc_frames_received;
	}

	/* FIFO full check */
	size_t wr = (size_t)atomic_get(&dc_fifo_write);
	size_t next = wr + 1;
	if (next >= DC_FIFO_SIZE) next = 0;
	if (next == (size_t)atomic_get(&dc_fifo_read)) {
		dc_frames_dropped++;
		return;
	}

	/* Build 64-byte HID report in FIFO slot */
	uint8_t *report = dc_fifo[wr];
	memset(report, 0, 64);

	/* Allow up to 52 bytes for type 0x13 (gyrQuat) packets */
	uint8_t copy_len = (len > 52) ? 52 : len;
	memcpy(report, data, copy_len);

	uint8_t pos = copy_len;
	report[pos++] = rssi;

	uint32_t rx_ticks = (uint32_t)k_uptime_ticks();
	sys_put_be32(rx_ticks, &report[pos]);

	atomic_set(&dc_fifo_write, next);

	/* Schedule deferred send (ISR-safe) */
	k_work_submit(&dc_send_work);
}

void data_collect_start(uint8_t tracker_id)
{
	dc_target_tracker_id = tracker_id;
	dc_active = true;
	dc_frames_sent = 0;
	dc_frames_dropped = 0;
	dc_frames_received = 0;
	dc_last_stats_time = k_uptime_get();
	dc_last_stats_sent = 0;
	dc_last_stats_dropped = 0;
	dc_last_stats_received = 0;
	dc_last_rx_time = k_uptime_get();
	/* Reset FIFO */
	atomic_set(&dc_fifo_write, 0);
	atomic_set(&dc_fifo_read, 0);
	/* Clear busy flag to ensure endpoint is ready */
	atomic_clear_bit(dc_ep_busy, DC_EP_BUSY_FLAG);
	LOG_INF("Data collection STARTED for tracker %u (HID)", tracker_id);
}

void data_collect_stop(void)
{
	dc_active = false;
	LOG_INF("Data collection STOPPED (received: %u, sent: %u, dropped: %u)",
		dc_frames_received, dc_frames_sent, dc_frames_dropped);
}

bool data_collect_is_active(void)
{
	return dc_active;
}

uint8_t data_collect_get_target_id(void)
{
	return dc_target_tracker_id;
}

bool data_collect_is_target(uint8_t tracker_id)
{
	return dc_active && tracker_id == dc_target_tracker_id;
}
```

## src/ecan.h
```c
/*
	SlimeVR Code is placed under the MIT license
	Copyright (c) 2026 SlimeVR Contributors

	Permission is hereby granted, free of charge, to any person obtaining a copy
	of this software and associated documentation files (the "Software"), to deal
	in the Software without restriction, including without limitation the rights
	to use, copy, modify, merge, publish, distribute, sublicense, and/or sell
	copies of the Software, and to permit persons to whom the Software is
	furnished to do so, subject to the following conditions:

	The above copyright notice and this permission notice shall be included in
	all copies or substantial portions of the Software.

	THE SOFTWARE IS PROVIDED "AS IS", WITHOUT WARRANTY OF ANY KIND, EXPRESS OR
	IMPLIED, INCLUDING BUT NOT LIMITED TO THE WARRANTIES OF MERCHANTABILITY,
	FITNESS FOR A PARTICULAR PURPOSE AND NONINFRINGEMENT. IN NO EVENT SHALL THE
	AUTHORS OR COPYRIGHT HOLDERS BE LIABLE FOR ANY CLAIM, DAMAGES OR OTHER
	LIABILITY, WHETHER IN AN ACTION OF CONTRACT, TORT OR OTHERWISE, ARISING FROM,
	OUT OF OR IN CONNECTION WITH THE SOFTWARE OR THE USE OR OTHER DEALINGS IN
	THE SOFTWARE.
*/
#ifndef SLIMENRF_ECAN
#define SLIMENRF_ECAN

#include <stdint.h>

/* ECAN-ECBT-16B serial posture stream (see ECAN-ECBT-16B.md).
 *
 * Emits fixed 16-byte frames on the dedicated CDC ACM port
 * (DT_NODELABEL(cdc_acm_uart1), wired up by boards/ecan_cdc.overlay):
 *
 *   0x5A, 0x10, Batt, DevID, W/X/Y/Z @ 4..11 (int16 BE), MagDist @ 12,
 *   reserved, 0xA5.
 *
 * Tracker -> frame mapping:
 *   - DevID   = pairing slot (tracker_id).
 *   - Batt    = Slime type 0/2 B2: 0 = no battery, 0x80|percent = available,
 *               0xFF = charged; see ecan_batt_to_percent().
 *   - MagDist = 1 while Slime type 0/2 B4 (temperature) decodes below 0 degC,
 *               which the tracker firmware uses to flag magnetic disturbance
 *               (temperature is inverted when the fusion detects it).
 *   - Quat    = type 1/4 (int16 LE Q15 x,y,z,w) or type 2/7 (packed 10/11/11
 *               bit half-angle), rescaled to W,X,Y,Z int16 BE with
 *               ECAN_QUAT_SCALE_FACTOR.
 *
 * Enabled by CONFIG_SLIMEVR_ECAN_STREAM; the pose sink in esb.c then feeds
 * this module instead of the HID report path.
 */
#define ECAN_ECBT_16B_FRAME_HEAD 0x5A
#define ECAN_ECBT_16B_FRAME_TAIL 0xA5
#define ECAN_ECBT_16B_FRAME_TYPE 0x10
#define ECAN_ECBT_16B_FRAME_LEN 16

/* Wire scale of the ECAN quaternions; Slime full-precision quats are Q15. */
#define ECAN_QUAT_SCALE_FACTOR 32767
#define SLIME_QUAT_SOURCE_SCALE 32768

/* Queue one Slime 16-byte ESB packet (data[0] = type, data[1] = tracker id)
 * for framing. Safe to call from the ESB event IRQ; framing itself runs in
 * workqueue context (the quaternion decoding needs the FPU). */
void ecan_handle_packet(const uint8_t *data, uint8_t rssi);

/* Drop one tracker's cached battery/temperature (e.g. on unpair). */
void ecan_reset_tracker(uint8_t tracker_id);

/* Drop the cache for every tracker (replaces hid_reset_all_rssi_smooth). */
void ecan_reset_all(void);

/* Frame rate and drop counters for the console health snapshot. */
uint32_t ecan_get_current_tps(void);
uint32_t ecan_get_total_drop_count(void);
uint32_t ecan_get_total_tracker_drop_count(uint8_t tracker_id);

#endif /* SLIMENRF_ECAN */
```

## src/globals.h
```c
/*
	SlimeVR Code is placed under the MIT license
	Copyright (c) 2025 SlimeVR Contributors

	Permission is hereby granted, free of charge, to any person obtaining a copy
	of this software and associated documentation files (the "Software"), to deal
	in the Software without restriction, including without limitation the rights
	to use, copy, modify, merge, publish, distribute, sublicense, and/or sell
	copies of the Software, and to permit persons to whom the Software is
	furnished to do so, subject to the following conditions:

	The above copyright notice and this permission notice shall be included in
	all copies or substantial portions of the Software.

	THE SOFTWARE IS PROVIDED "AS IS", WITHOUT WARRANTY OF ANY KIND, EXPRESS OR
	IMPLIED, INCLUDING BUT NOT LIMITED TO THE WARRANTIES OF MERCHANTABILITY,
	FITNESS FOR A PARTICULAR PURPOSE AND NONINFRINGEMENT. IN NO EVENT SHALL THE
	AUTHORS OR COPYRIGHT HOLDERS BE LIABLE FOR ANY CLAIM, DAMAGES OR OTHER
	LIABILITY, WHETHER IN AN ACTION OF CONTRACT, TORT OR OTHERWISE, ARISING FROM,
	OUT OF OR IN CONNECTION WITH THE SOFTWARE OR THE USE OR OTHER DEALINGS IN
	THE SOFTWARE.
*/
#ifndef SLIMENRF_GLOBALS
#define SLIMENRF_GLOBALS

#include <zephyr/logging/log.h>

#include "retained.h"

#ifndef CONFIG_SOC_NRF52820
#define MAX_TRACKERS 256
#else
#define MAX_TRACKERS 24
#endif
#define DETECTION_THRESHOLD 16

// TODO: move to esb
extern uint8_t stored_trackers;
extern uint64_t stored_tracker_addr[MAX_TRACKERS];

#endif
```
